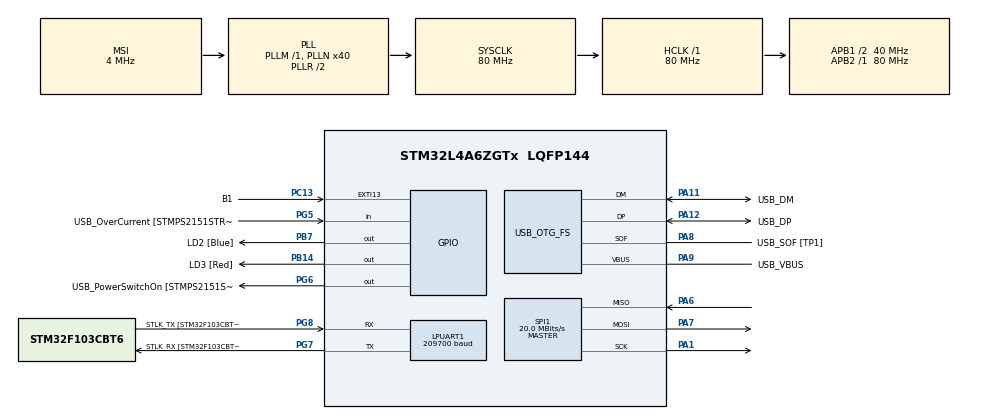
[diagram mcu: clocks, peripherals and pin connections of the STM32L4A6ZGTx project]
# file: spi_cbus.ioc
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LPUART1.AutoBaudRateEnableParam=UART_ADVFEATURE_AUTOBAUDRATE_DISABLE
LPUART1.BaudRate=209700
LPUART1.DMADisableonRxErrorParam=UART_ADVFEATURE_DMA_ENABLEONRXERROR
LPUART1.DataInvertParam=UART_ADVFEATURE_DATAINV_DISABLE
LPUART1.MSBFirstParam=UART_ADVFEATURE_MSBFIRST_DISABLE
LPUART1.Mode=UART_MODE_TX_RX
LPUART1.OneBitSampling=UART_ONE_BIT_SAMPLE_DISABLE
LPUART1.OverrunDisableParam=UART_ADVFEATURE_OVERRUN_ENABLE
LPUART1.Parity=UART_PARITY_NONE
LPUART1.RxPinLevelInvertParam=UART_ADVFEATURE_RXINV_DISABLE
LPUART1.StopBits=UART_STOPBITS_1
LPUART1.SwapParam=UART_ADVFEATURE_SWAP_DISABLE
LPUART1.TxPinLevelInvertParam=UART_ADVFEATURE_TXINV_DISABLE
LPUART1.WordLength=UART_WORDLENGTH_7B
Mcu.Family=STM32L4
Mcu.Name=STM32L4A6ZGTx
Mcu.Package=LQFP144
NVIC.PriorityGroup=NVIC_PRIORITYGROUP_4
PA1.Mode=Full_Duplex_Master
PA1.Signal=SPI1_SCK
PA10.GPIO_Label=USB_ID
PA10.Signal=USB_OTG_FS_ID
PA11.GPIO_Label=USB_DM
PA11.Mode=Device_Only
PA11.Signal=USB_OTG_FS_DM
PA12.GPIO_Label=USB_DP
PA12.Mode=Device_Only
PA12.Signal=USB_OTG_FS_DP
PA13\ (JTMS/SWDIO).GPIO_Label=TMS
PA13\ (JTMS/SWDIO).Mode=Trace_Asynchronous_SW
PA13\ (JTMS/SWDIO).Signal=SYS_JTMS-SWDIO
PA14\ (JTCK/SWCLK).GPIO_Label=TCK
PA14\ (JTCK/SWCLK).Mode=Trace_Asynchronous_SW
PA14\ (JTCK/SWCLK).Signal=SYS_JTCK-SWCLK
PA6.Mode=Full_Duplex_Master
PA6.Signal=SPI1_MISO
PA7.Mode=Full_Duplex_Master
PA7.Signal=SPI1_MOSI
PA8.GPIO_Label=USB_SOF [TP1]
PA8.Mode=Activate_SOF_FS
PA8.Signal=USB_OTG_FS_SOF
PA9.GPIO_Label=USB_VBUS
PA9.Mode=Activate_VBUS
PA9.Signal=USB_OTG_FS_VBUS
PB14.GPIO_Label=LD3 [Red]
PB14.Signal=GPIO_Output
PB3\ (JTDO/TRACESWO).GPIO_Label=SWO
PB3\ (JTDO/TRACESWO).Mode=Trace_Asynchronous_SW
PB3\ (JTDO/TRACESWO).Signal=SYS_JTDO-SWO
PB7.GPIO_Label=LD2 [Blue]
PB7.Signal=GPIO_Output
PC13.GPIO_Label=B1
PC13.Signal=GPXTI13
PC14-OSC32_IN\ (PC14).Mode=LSE-External-Oscillator
PC14-OSC32_IN\ (PC14).Signal=RCC_OSC32_IN
PC15-OSC32_OUT\ (PC15).Mode=LSE-External-Oscillator
PC15-OSC32_OUT\ (PC15).Signal=RCC_OSC32_OUT
PG5.GPIO_Label=USB_OverCurrent [STMPS2151STR_FAULT]
PG5.Signal=GPIO_Input
PG6.GPIO_Label=USB_PowerSwitchOn [STMPS2151STR_EN]
PG6.Signal=GPIO_Output
PG7.GPIO_Label=STLK_RX [STM32F103CBT6_PA3]
PG7.Mode=Asynchronous
PG7.Signal=LPUART1_TX
PG8.GPIO_Label=STLK_TX [STM32F103CBT6_PA2]
PG8.Mode=Asynchronous
PG8.Signal=LPUART1_RX
PH1-OSC_OUT\ (PH1).Signal=RCC_OSC_OUT
ProjectManager.HeapSize=0x200
ProjectManager.StackSize=0x400
ProjectManager.TargetToolchain=STM32CubeIDE
RCC.ADCFreq_Value=48000000
RCC.AHBFreq_Value=80000000
RCC.APB1CLKDivider=RCC_HCLK_DIV2
RCC.APB1Freq_Value=40000000
RCC.APB1TimFreq_Value=80000000
RCC.APB2Freq_Value=80000000
RCC.APB2TimFreq_Value=80000000
RCC.CortexFreq_Value=80000000
RCC.FLatency=FLASH_LATENCY_4
RCC.HCLKFreq_Value=80000000
RCC.HSE_VALUE=8000000
RCC.HSI48_VALUE=48000000
RCC.HSI_VALUE=16000000
RCC.MSI_VALUE=4000000
RCC.PLLN=40
RCC.PLLSAI1N=24
RCC.SYSCLKFreq_VALUE=80000000
RCC.SYSCLKSource=RCC_SYSCLKSOURCE_PLLCLK
RCC.USBFreq_Value=48000000
RCC.VCOOutputFreq_Value=160000000
SPI1.BaudRatePrescaler=SPI_BAUDRATEPRESCALER_4
SPI1.CLKPhase=SPI_PHASE_2EDGE
SPI1.CLKPolarity=SPI_POLARITY_HIGH
SPI1.CalculateBaudRate=20.0 MBits/s
SPI1.DataSize=SPI_DATASIZE_8BIT
SPI1.Direction=SPI_DIRECTION_2LINES
SPI1.Mode=SPI_MODE_MASTER
SPI1.VirtualType=VM_MASTER
USB_OTG_FS.Sof_enable=ENABLE
USB_OTG_FS.VirtualMode=Device_Only
USB_OTG_FS.battery_charging_enable=ENABLE
USB_OTG_FS.low_power_enable=DISABLE
USB_OTG_FS.lpm_enable=DISABLE
USB_OTG_FS.use_dedicated_ep1=DISABLE
USB_OTG_FS.vbus_sensing_enable=ENABLE
board=NUCLEO-L4A6ZG

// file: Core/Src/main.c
/* USER CODE BEGIN Header */
/**
  ******************************************************************************
  * @file           : main.c
  * @brief          : Main program body
  ******************************************************************************
  * @attention
  *
  * Copyright (c) 2022 STMicroelectronics.
  * All rights reserved.
  *
  * This software is licensed under terms that can be found in the LICENSE file
  * in the root directory of this software component.
  * If no LICENSE file comes with this software, it is provided AS-IS.
  *
  ******************************************************************************
  */
/* USER CODE END Header */
#include "main.h"
#include "CODEC_REG.h"
#include "cbus.h"
#include "functional_image_alog.h"

UART_HandleTypeDef hlpuart1;

SPI_HandleTypeDef hspi1;

PCD_HandleTypeDef hpcd_USB_OTG_FS;

void SystemClock_Config(void);
static void MX_GPIO_Init(void);
static void MX_LPUART1_UART_Init(void);
static void MX_USB_OTG_FS_PCD_Init(void);
static void MX_SPI1_Init(void);
/* USER CODE BEGIN PFP */
void INPUT_CODEC_REG_SET();
void OUTPUT_CODEC_RED_SET();
/* USER CODE END PFP */

/* USER CODE BEGIN 0 */
uint16_t array[512];

/* USER CODE END 0 */
uint16_t *pointtoarray=array;

int main(void)
{
  /* USER CODE BEGIN 1 */
  char check[5];
  /* USER CODE END 1 */

  /* MCU Configuration--------------------------------------------------------*/

  /* Reset of all peripherals, Initializes the Flash interface and the Systick. */
  HAL_Init();

  /* Configure the system clock */
  SystemClock_Config();

  /* Initialize all configured peripherals */
  MX_GPIO_Init();
  CBUS_INIT();
  MX_LPUART1_UART_Init();
  MX_USB_OTG_FS_PCD_Init();
  MX_SPI1_Init();
  /* USER CODE BEGIN 2 */

  enable_codec_boot_control_gpios();
  set_boot_en1_en2_high();
  enable_timer6();
  Cbus_Config(SPI3);
  CBUS_ENABLE(SPI3);
  CBUS_CHIP_SElECT_HIGH();
  CBUS_CHIP_SElECT_OUPUT_CODEC_HIGH();

  // input codec setting start

  General_Reset_to_CMX72619();

  HAL_Delay(2);

  if(Read_audio_fifo_out_level_reg_for_3_device_check_word()){
    check[5]="ok";
  }
  else{
    check[5]="nook";
  }
    HAL_Delay(0.001);
  if(Write_block()){
    check[5]="ok";
  }
  else{
    check[5]="nook";
  }

   // input codec setting end

  //CBUS_CHIP_SElECT_LOW();
  //Cbus_Write_Word_stream(SPI3, Audio_in_fifo_data_data_word, pointtoarray,size_of_array);
  //CBUS_CHIP_SElECT_HIGH();
   // input codec setting end
  //CODEC1_REG_SET();
//  OUTPUT_CODEC_RED_SET();
    set_boot_en1_en2_low();
  HAL_Delay(5);
  CBUS_CHIP_SElECT_LOW();
  CbusWriteRegister(SPI3, MODE, 0x0222); //0024
  CBUS_CHIP_SElECT_HIGH();

  CBUS_CHIP_SElECT_LOW();
  CbusWriteRegister(SPI3, Input_type, 0x0024); //0024
  CBUS_CHIP_SElECT_HIGH();

  CBUS_CHIP_SElECT_LOW();
  CbusWriteRegister(SPI3, Output_type, 0x0024); //0024
  CBUS_CHIP_SElECT_HIGH();

  //CBUS_CHIP_SElECT_LOW();
  //CbusWriteRegister(SPI3, MODE, 0x0222); //0222
  //CBUS_CHIP_SElECT_HIGH();
  //HAL_Delay(50);

  CBUS_CHIP_SElECT_LOW();
  CbusWriteRegister(SPI3, ANAIN_Coarse_GAIN, 0x0700); //0A66
  CBUS_CHIP_SElECT_HIGH();

  CBUS_CHIP_SElECT_LOW();
  CbusWriteRegister(SPI3, ANAIN_Config, 0x0A09); //0A66
  CBUS_CHIP_SElECT_HIGH();

  //CBUS_CHIP_SElECT_LOW();
  //CbusWriteRegister(SPI3, Fine_Gain_Channel_1, 0x0080); //0A66
  //CBUS_CHIP_SElECT_HIGH();
  //HAL_Delay(50);
  CBUS_CHIP_SElECT_LOW();
  CbusWriteRegister(SPI3, ANAOUT_CONFIG, 0x0A66); //0A66
  CBUS_CHIP_SElECT_HIGH();

while (1)
  { /*HAL_Delay(25);
    CBUS_CHIP_SElECT_LOW();
    Cbus_Read_Word_stream(SPI3,Audio_out_fifo_data_word,array,512);
    CBUS_CHIP_SElECT_HIGH();

    HAL_Delay(25);

    CBUS_CHIP_SElECT_OUPUT_CODEC_LOW();
    Cbus_Write_Word_stream(SPI3,Audio_in_fifo_data_word,array,512);
    CBUS_CHIP_SElECT_OUPUT_CODEC_HIGH();
*/

  }
}
void SystemClock_Config(void)
{
  RCC_OscInitTypeDef RCC_OscInitStruct = {0};
  RCC_ClkInitTypeDef RCC_ClkInitStruct = {0};

  /** Configure the main internal regulator output voltage
  */
  if (HAL_PWREx_ControlVoltageScaling(PWR_REGULATOR_VOLTAGE_SCALE1) != HAL_OK)
  {
    Error_Handler();
  }

  /** Configure LSE Drive Capability
  */
  HAL_PWR_EnableBkUpAccess();
  __HAL_RCC_LSEDRIVE_CONFIG(RCC_LSEDRIVE_LOW);

  /** Initializes the RCC Oscillators according to the specified parameters
  * in the RCC_OscInitTypeDef structure.
  */
  RCC_OscInitStruct.OscillatorType = RCC_OSCILLATORTYPE_LSE|RCC_OSCILLATORTYPE_MSI;
  RCC_OscInitStruct.LSEState = RCC_LSE_ON;
  RCC_OscInitStruct.MSIState = RCC_MSI_ON;
  RCC_OscInitStruct.MSICalibrationValue = 0;
  RCC_OscInitStruct.MSIClockRange = RCC_MSIRANGE_6;
  RCC_OscInitStruct.PLL.PLLState = RCC_PLL_ON;
  RCC_OscInitStruct.PLL.PLLSource = RCC_PLLSOURCE_MSI;
  RCC_OscInitStruct.PLL.PLLM = 1;
  RCC_OscInitStruct.PLL.PLLN = 40;
  RCC_OscInitStruct.PLL.PLLP = RCC_PLLP_DIV2;
  RCC_OscInitStruct.PLL.PLLQ = RCC_PLLQ_DIV2;
  RCC_OscInitStruct.PLL.PLLR = RCC_PLLR_DIV2;
  if (HAL_RCC_OscConfig(&RCC_OscInitStruct) != HAL_OK)
  {
    Error_Handler();
  }

  /** Initializes the CPU, AHB and APB buses clocks
  */
  RCC_ClkInitStruct.ClockType = RCC_CLOCKTYPE_HCLK|RCC_CLOCKTYPE_SYSCLK
                              |RCC_CLOCKTYPE_PCLK1|RCC_CLOCKTYPE_PCLK2;
  RCC_ClkInitStruct.SYSCLKSource = RCC_SYSCLKSOURCE_PLLCLK;
  RCC_ClkInitStruct.AHBCLKDivider = RCC_SYSCLK_DIV1;
  RCC_ClkInitStruct.APB1CLKDivider = RCC_HCLK_DIV2;
  RCC_ClkInitStruct.APB2CLKDivider = RCC_HCLK_DIV1;

  if (HAL_RCC_ClockConfig(&RCC_ClkInitStruct, FLASH_LATENCY_4) != HAL_OK)
  {
    Error_Handler();
  }

  /** Enable MSI Auto calibration
  */
  HAL_RCCEx_EnableMSIPLLMode();
}

static void MX_LPUART1_UART_Init(void)
{

  hlpuart1.Instance = LPUART1;
  hlpuart1.Init.BaudRate = 209700;
  hlpuart1.Init.WordLength = UART_WORDLENGTH_7B;
  hlpuart1.Init.StopBits = UART_STOPBITS_1;
  hlpuart1.Init.Parity = UART_PARITY_NONE;
  hlpuart1.Init.Mode = UART_MODE_TX_RX;
  hlpuart1.Init.HwFlowCtl = UART_HWCONTROL_NONE;
  hlpuart1.Init.OneBitSampling = UART_ONE_BIT_SAMPLE_DISABLE;
  hlpuart1.AdvancedInit.AdvFeatureInit = UART_ADVFEATURE_NO_INIT;
  if (HAL_UART_Init(&hlpuart1) != HAL_OK)
  {
    Error_Handler();
  }

}

static void MX_SPI1_Init(void)
{

  /* SPI1 parameter configuration*/
  hspi1.Instance = SPI1;
  hspi1.Init.Mode = SPI_MODE_MASTER;
  hspi1.Init.Direction = SPI_DIRECTION_2LINES;
  hspi1.Init.DataSize = SPI_DATASIZE_8BIT;
  hspi1.Init.CLKPolarity = SPI_POLARITY_HIGH;
  hspi1.Init.CLKPhase = SPI_PHASE_2EDGE;
  hspi1.Init.NSS = SPI_NSS_SOFT;
  hspi1.Init.BaudRatePrescaler = SPI_BAUDRATEPRESCALER_4;
  hspi1.Init.FirstBit = SPI_FIRSTBIT_MSB;
  hspi1.Init.TIMode = SPI_TIMODE_DISABLE;
  hspi1.Init.CRCCalculation = SPI_CRCCALCULATION_DISABLE;
  hspi1.Init.CRCPolynomial = 7;
  hspi1.Init.CRCLength = SPI_CRC_LENGTH_DATASIZE;
  hspi1.Init.NSSPMode = SPI_NSS_PULSE_DISABLE;
  if (HAL_SPI_Init(&hspi1) != HAL_OK)
  {
    Error_Handler();
  }

}

static void MX_USB_OTG_FS_PCD_Init(void)
{

  hpcd_USB_OTG_FS.Instance = USB_OTG_FS;
  hpcd_USB_OTG_FS.Init.dev_endpoints = 6;
  hpcd_USB_OTG_FS.Init.speed = PCD_SPEED_FULL;
  hpcd_USB_OTG_FS.Init.phy_itface = PCD_PHY_EMBEDDED;
  hpcd_USB_OTG_FS.Init.Sof_enable = ENABLE;
  hpcd_USB_OTG_FS.Init.low_power_enable = DISABLE;
  hpcd_USB_OTG_FS.Init.lpm_enable = DISABLE;
  hpcd_USB_OTG_FS.Init.battery_charging_enable = ENABLE;
  hpcd_USB_OTG_FS.Init.use_dedicated_ep1 = DISABLE;
  hpcd_USB_OTG_FS.Init.vbus_sensing_enable = ENABLE;
  if (HAL_PCD_Init(&hpcd_USB_OTG_FS) != HAL_OK)
  {
    Error_Handler();
  }

}

static void MX_GPIO_Init(void)
{
  GPIO_InitTypeDef GPIO_InitStruct = {0};

  /* GPIO Ports Clock Enable */
  __HAL_RCC_GPIOC_CLK_ENABLE();
  __HAL_RCC_GPIOH_CLK_ENABLE();
  __HAL_RCC_GPIOA_CLK_ENABLE();
  __HAL_RCC_GPIOB_CLK_ENABLE();
  __HAL_RCC_GPIOG_CLK_ENABLE();
  HAL_PWREx_EnableVddIO2();

  /*Configure GPIO pin Output Level */
  HAL_GPIO_WritePin(GPIOB, LD3_Pin|LD2_Pin, GPIO_PIN_RESET);

  /*Configure GPIO pin Output Level */
  HAL_GPIO_WritePin(USB_PowerSwitchOn_GPIO_Port, USB_PowerSwitchOn_Pin, GPIO_PIN_RESET);

  /*Configure GPIO pin : B1_Pin */
  GPIO_InitStruct.Pin = B1_Pin;
  GPIO_InitStruct.Mode = GPIO_MODE_IT_RISING;
  GPIO_InitStruct.Pull = GPIO_NOPULL;
  HAL_GPIO_Init(B1_GPIO_Port, &GPIO_InitStruct);

  /*Configure GPIO pins : LD3_Pin LD2_Pin */
  GPIO_InitStruct.Pin = LD3_Pin|LD2_Pin;
  GPIO_InitStruct.Mode = GPIO_MODE_OUTPUT_PP;
  GPIO_InitStruct.Pull = GPIO_NOPULL;
  GPIO_InitStruct.Speed = GPIO_SPEED_FREQ_LOW;
  HAL_GPIO_Init(GPIOB, &GPIO_InitStruct);

  /*Configure GPIO pin : USB_OverCurrent_Pin */
  GPIO_InitStruct.Pin = USB_OverCurrent_Pin;
  GPIO_InitStruct.Mode = GPIO_MODE_INPUT;
  GPIO_InitStruct.Pull = GPIO_NOPULL;
  HAL_GPIO_Init(USB_OverCurrent_GPIO_Port, &GPIO_InitStruct);

  /*Configure GPIO pin : USB_PowerSwitchOn_Pin */
  GPIO_InitStruct.Pin = USB_PowerSwitchOn_Pin;
  GPIO_InitStruct.Mode = GPIO_MODE_OUTPUT_PP;
  GPIO_InitStruct.Pull = GPIO_NOPULL;
  GPIO_InitStruct.Speed = GPIO_SPEED_FREQ_LOW;
  HAL_GPIO_Init(USB_PowerSwitchOn_GPIO_Port, &GPIO_InitStruct);

}

/* USER CODE BEGIN 4 */
void CODEC1_REG_SET(){
  HAL_Delay(100);
  CBUS_CHIP_SElECT_LOW();
  CbusWriteRegister(SPI3, MODE, 0x0210); //0024
  CBUS_CHIP_SElECT_HIGH();
  HAL_Delay(50);

  CBUS_CHIP_SElECT_LOW();
  CbusWriteRegister(SPI3, Input_type, 0x0124); //0024
  CBUS_CHIP_SElECT_HIGH();
  HAL_Delay(50);

  CBUS_CHIP_SElECT_LOW();
  CbusWriteRegister(SPI3, Output_type, 0x0124); //0024
  CBUS_CHIP_SElECT_HIGH();
  HAL_Delay(50);

  CBUS_CHIP_SElECT_LOW();
  CbusWriteRegister(SPI3, MODE, 0x0212); //0222
  CBUS_CHIP_SElECT_HIGH();
  HAL_Delay(50);

  CBUS_CHIP_SElECT_LOW();
  CbusWriteRegister(SPI3, ANAIN_Coarse_GAIN, 0x0500); //0A66
  CBUS_CHIP_SElECT_HIGH();
  HAL_Delay(50);

  CBUS_CHIP_SElECT_LOW();
  CbusWriteRegister(SPI3, ANAIN_Config, 0x0A09); //0A66
  CBUS_CHIP_SElECT_HIGH();
  HAL_Delay(50);

  CBUS_CHIP_SElECT_LOW();
  CbusWriteRegister(SPI3, Fine_Gain_Channel_1, 0x0080); //0A66
  CBUS_CHIP_SElECT_HIGH();
  HAL_Delay(50);
}

void OUTPUT_CODEC_RED_SET() {

  CBUS_CHIP_SElECT_OUPUT_CODEC_LOW();
  CbusWriteRegister(SPI3, MODE, 0x0120);
  CBUS_CHIP_SElECT_OUPUT_CODEC_HIGH();
  HAL_Delay(50);

  CBUS_CHIP_SElECT_OUPUT_CODEC_LOW();
  CbusWriteRegister(SPI3, Input_type, 0x0124);
  CBUS_CHIP_SElECT_OUPUT_CODEC_HIGH();
  HAL_Delay(50);

  CBUS_CHIP_SElECT_OUPUT_CODEC_LOW();
  CbusWriteRegister(SPI3, Output_type, 0x0124);
  CBUS_CHIP_SElECT_OUPUT_CODEC_HIGH();
  HAL_Delay(50);

  CBUS_CHIP_SElECT_OUPUT_CODEC_LOW();
  CbusWriteRegister(SPI3, MODE, 0x0122);
  CBUS_CHIP_SElECT_OUPUT_CODEC_HIGH();
  HAL_Delay(50);

  CBUS_CHIP_SElECT_OUPUT_CODEC_LOW();
  CbusWriteRegister(SPI3, ANAOUT_CONFIG, 0x0A66);
  CBUS_CHIP_SElECT_OUPUT_CODEC_HIGH();
  HAL_Delay(50);

  CBUS_CHIP_SElECT_OUPUT_CODEC_LOW();
  CbusWriteRegister(SPI3, SPKR_COARSE_GAIN, 0x8000);
  CBUS_CHIP_SElECT_OUPUT_CODEC_HIGH();
  HAL_Delay(50);

  CBUS_CHIP_SElECT_OUPUT_CODEC_LOW();
  CbusWriteRegister(SPI3, Fine_Gain_Channel_1, 0x0090);
  CBUS_CHIP_SElECT_OUPUT_CODEC_HIGH();
  HAL_Delay(50);

}
/* USER CODE END 4 */

void Error_Handler(void)
{
  __disable_irq();
  while (1)
  {
  }
}
